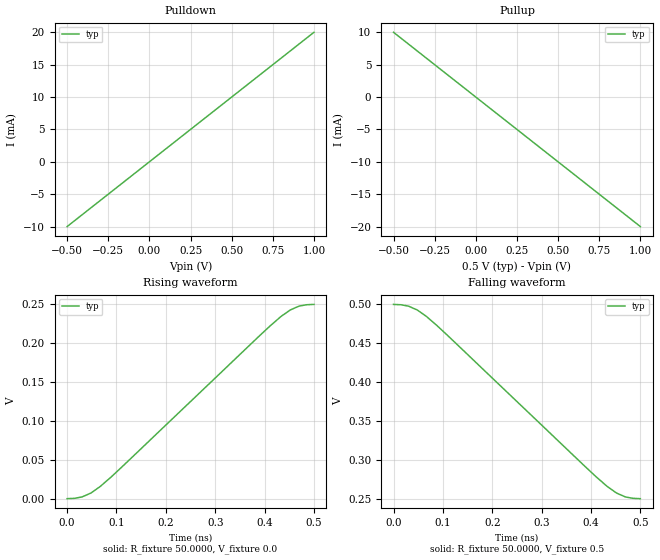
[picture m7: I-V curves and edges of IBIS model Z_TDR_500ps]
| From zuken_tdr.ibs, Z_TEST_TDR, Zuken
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|   Model Z_TDR_500ps  OUTPUT
[Model]   Z_TDR_500ps
Model_type  Output
Polarity   Non-Inverting
Vmeas =0.125V
Vref =0V
Rref =50
Cref =0pF
| variable   typ   min   max
C_comp   0.0   NA   NA
[Temperature Range]   50   NA   NA
[Voltage range]   0.5   NA   NA
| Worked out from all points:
|   slope of the pulldown table from 0 to 0.075 V, typ, clamps not added: 50 ohm
|   slope of the pullup table from 0 to 0.075 V, typ, clamps not added: 50 ohm
|   rising waveform, R_fixture 50.0000, V_fixture 0.0: 20-80 % time 248ps typ, NA min, NA max; typ from 0 V to 0.25 V
|   falling waveform, R_fixture 50.0000, V_fixture 0.5: 20-80 % time 248ps typ, NA min, NA max; typ from 0.5 V to 0.25 V
[Pullup]
|   Voltage   I(typ)   I(min)   I(max)
-500mV    10mA       NA         NA
1V        -20mA      NA         NA
[Pulldown]
|   Voltage   I(typ)   I(min)   I(max)
-500mV    -10mA      NA         NA
1V        20mA       NA         NA
[GND Clamp]
|   Voltage   I(typ)   I(min)   I(max)
-500mV    0A         NA         NA
1V        0A         NA         NA
[POWER Clamp]
|   Voltage   I(typ)   I(min)   I(max)
-500mV    0A         NA         NA
1V        0A         NA         NA
[ramp]
| variable   typ   min   max
dV/dt_r   0.15/300ps   NA   NA
dV/dt_f   0.15/300ps   NA   NA
[Rising Waveform]
R_fixture=   50.0000
V_fixture=   0.0
V_fixture_min=  0.0
V_fixture_max=  0.0
|time   V(typ)   V(min)   V(max)
0s        0V         NA         NA
30.29ps   2.234mV    NA         NA
48.01ps   7.173mV    NA         NA
66.73ps   15.52mV    NA         NA
114ps     42.66mV    NA         NA
386ps     207.3mV    NA         NA
433.3ps   234.5mV    NA         NA
452ps     242.8mV    NA         NA
469.7ps   247.8mV    NA         NA
500ps     250mV      NA         NA
[Falling Waveform]
R_fixture=   50.0000
V_fixture=   0.5
V_fixture_min=  0.5
V_fixture_max=  0.5
|time   V(typ)   V(min)   V(max)
0s        500mV      NA         NA
30.29ps   497.8mV    NA         NA
48.01ps   492.8mV    NA         NA
66.73ps   484.5mV    NA         NA
114ps     457.3mV    NA         NA
386ps     292.7mV    NA         NA
433.3ps   265.5mV    NA         NA
452ps     257.2mV    NA         NA
469.7ps   252.2mV    NA         NA
500ps     250mV      NA         NA
